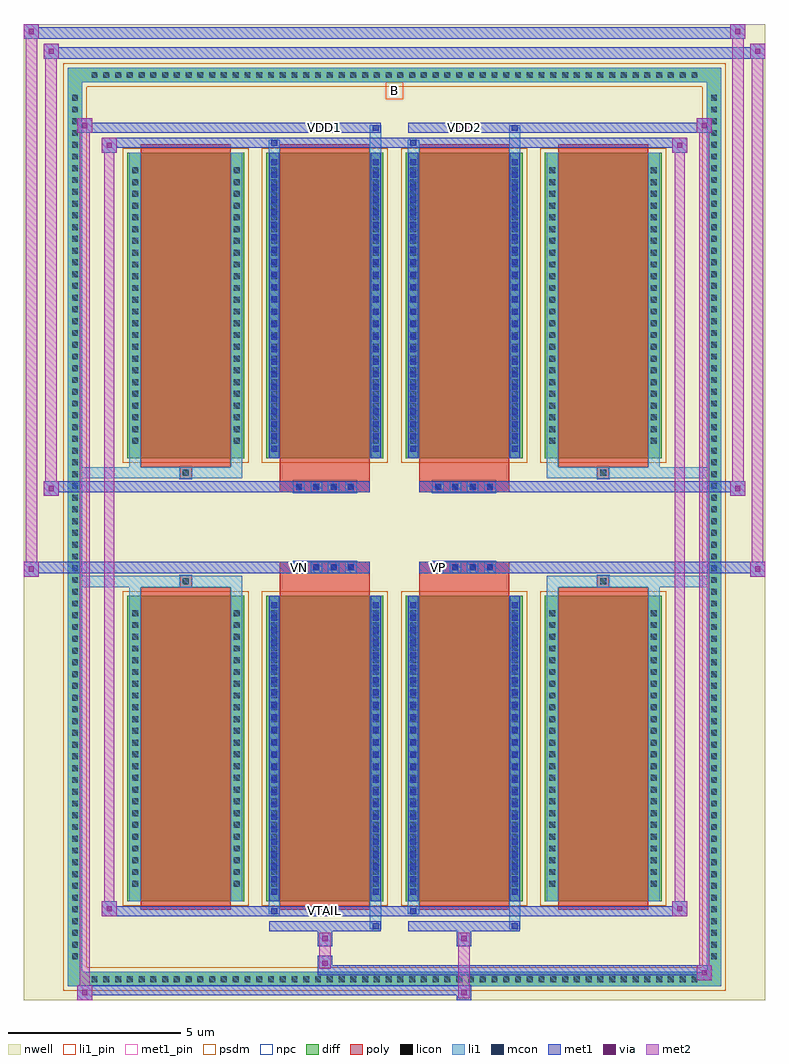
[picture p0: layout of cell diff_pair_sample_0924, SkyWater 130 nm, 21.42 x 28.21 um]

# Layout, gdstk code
import gdstk
lib = gdstk.Library(unit=1e-6, precision=5e-09)
def R(c, l, rs):  # rectangles x0, y0, x1, y1
    for r in rs: c.add(gdstk.rectangle(r[:2], r[2:], *l))
def A(c, l, x, y, w, h, nx, ny, dx, dy):  # array of equal rectangles
    R(c, l, [(x+i*dx, y+j*dy, x+i*dx+w, y+j*dy+h) for i in range(nx) for j in range(ny)])
def P(c, l, *ps):  # polygons
    for p in ps: c.add(gdstk.Polygon(p, *l))
nwell = (64, 20)
diff = (65, 20)
poly = (66, 20)
licon = (66, 44)
li1_pin = (67, 16)
li1 = (67, 20)
mcon = (67, 44)
met1_pin = (68, 16)
met1 = (68, 20)
via = (68, 44)
met2 = (69, 20)
psdm = (94, 20)
npc = (95, 20)

diff_pair_sample_0924 = lib.new_cell('diff_pair_sample_0924')
R(diff_pair_sample_0924, nwell, [(-10.71,-13.67,10.71,14.54), (-8.03,-11.86,-0.01,-0.8), (0.01,-11.86,8.03,-0.8), (-8.03,0.8,-0.01,11.86), (0.01,0.8,8.03,11.86)])
A(diff_pair_sample_0924, diff, -8.875, -13.27, 0.41, 0.41, 52, 2, 0.34, 26.13)
A(diff_pair_sample_0924, diff, -9.44, -12.615, 0.41, 0.41, 1, 74, 0, 0.34)
A(diff_pair_sample_0924, diff, 9.03, -12.615, 0.41, 0.41, 1, 74, 0, 0.34)
A(diff_pair_sample_0924, diff, -7.72, -10.815, 3.38, 8.83, 4, 2, 4.02, 12.8)
R(diff_pair_sample_0924, diff, [(-8.875,-13.27,8.875,-12.86), (-9.44,-12.615,-9.03,12.615), (9.03,-12.615,9.44,12.615), (-8.875,12.86,8.875,13.27)])
P(diff_pair_sample_0924, diff, [(9.44,13.27),(-9.44,13.27),(-9.44,-12.86),(-9.03,-12.86),(-9.03,12.86),(9.03,12.86),(9.03,-12.86),(-9.03,-12.86),(-9.44,-12.86),(-9.44,-13.27),(9.44,-13.27)])
A(diff_pair_sample_0924, poly, -7.33, -11.065, 2.6, 9.33, 4, 2, 4.02, 12.8)
A(diff_pair_sample_0924, poly, -2.925, -1.33, 0.33, 0.33, 4, 2, 0.5, 2.33)
A(diff_pair_sample_0924, poly, 1.095, -1.33, 0.33, 0.33, 4, 2, 0.5, 2.33)
R(diff_pair_sample_0924, poly, [(-6.195,-1.735,-5.865,-1.405), (-6.195,-1.735,-5.865,-1.405), (-3.31,-1.735,-0.71,-1.33), (0.71,-1.735,3.31,-1.33), (5.865,-1.735,6.195,-1.405), (5.865,-1.735,6.195,-1.405), (-3.31,-1.33,-0.71,-1), (0.71,-1.33,3.31,-1), (-3.31,1,-0.71,1.33), (0.71,1,3.31,1.33), (-3.31,1.33,-0.71,1.735), (0.71,1.33,3.31,1.735), (-6.195,1.405,-5.865,1.735), (-6.195,1.405,-5.865,1.735), (5.865,1.405,6.195,1.735), (5.865,1.405,6.195,1.735)])
A(diff_pair_sample_0924, licon, -8.755, -13.15, 0.17, 0.17, 52, 2, 0.34, 26.13)
A(diff_pair_sample_0924, licon, -9.32, -12.495, 0.17, 0.17, 1, 74, 0, 0.34)
A(diff_pair_sample_0924, licon, 9.15, -12.495, 0.17, 0.17, 1, 74, 0, 0.34)
A(diff_pair_sample_0924, licon, -7.58, -10.395, 0.17, 0.17, 1, 24, 0, 0.34)
A(diff_pair_sample_0924, licon, -4.65, -10.395, 0.17, 0.17, 1, 24, 0, 0.34)
A(diff_pair_sample_0924, licon, -3.56, -10.395, 0.17, 0.17, 1, 24, 0, 0.34)
A(diff_pair_sample_0924, licon, -0.63, -10.395, 0.17, 0.17, 1, 24, 0, 0.34)
A(diff_pair_sample_0924, licon, 0.46, -10.395, 0.17, 0.17, 1, 24, 0, 0.34)
A(diff_pair_sample_0924, licon, 3.39, -10.395, 0.17, 0.17, 1, 24, 0, 0.34)
A(diff_pair_sample_0924, licon, 4.48, -10.395, 0.17, 0.17, 1, 24, 0, 0.34)
A(diff_pair_sample_0924, licon, 7.41, -10.395, 0.17, 0.17, 1, 24, 0, 0.34)
A(diff_pair_sample_0924, licon, -2.845, -1.25, 0.17, 0.17, 4, 2, 0.5, 2.33)
A(diff_pair_sample_0924, licon, 1.175, -1.25, 0.17, 0.17, 4, 2, 0.5, 2.33)
A(diff_pair_sample_0924, licon, -7.58, 2.405, 0.17, 0.17, 1, 24, 0, 0.34)
A(diff_pair_sample_0924, licon, -4.65, 2.405, 0.17, 0.17, 1, 24, 0, 0.34)
A(diff_pair_sample_0924, licon, -3.56, 2.405, 0.17, 0.17, 1, 24, 0, 0.34)
A(diff_pair_sample_0924, licon, -0.63, 2.405, 0.17, 0.17, 1, 24, 0, 0.34)
A(diff_pair_sample_0924, licon, 0.46, 2.405, 0.17, 0.17, 1, 24, 0, 0.34)
A(diff_pair_sample_0924, licon, 3.39, 2.405, 0.17, 0.17, 1, 24, 0, 0.34)
A(diff_pair_sample_0924, licon, 4.48, 2.405, 0.17, 0.17, 1, 24, 0, 0.34)
A(diff_pair_sample_0924, licon, 7.41, 2.405, 0.17, 0.17, 1, 24, 0, 0.34)
R(diff_pair_sample_0924, licon, [(-6.115,-1.655,-5.945,-1.485), (5.945,-1.655,6.115,-1.485), (-6.115,1.485,-5.945,1.655), (5.945,1.485,6.115,1.655)])
R(diff_pair_sample_0924, li1_pin, [(-0.25,12.36,0.25,12.86)])
A(diff_pair_sample_0924, li1, -8.835, -13.23, 0.33, 0.33, 52, 2, 0.34, 26.13)
A(diff_pair_sample_0924, li1, -9.4, -12.575, 0.33, 0.33, 1, 74, 0, 0.34)
A(diff_pair_sample_0924, li1, 9.07, -12.575, 0.33, 0.33, 1, 74, 0, 0.34)
A(diff_pair_sample_0924, li1, -3.56, -10.625, 0.17, 0.17, 1, 24, 0, 0.36)
A(diff_pair_sample_0924, li1, -0.63, -10.625, 0.17, 0.17, 1, 24, 0, 0.36)
A(diff_pair_sample_0924, li1, 0.46, -10.625, 0.17, 0.17, 1, 24, 0, 0.36)
A(diff_pair_sample_0924, li1, 3.39, -10.625, 0.17, 0.17, 1, 24, 0, 0.36)
A(diff_pair_sample_0924, li1, -7.66, -10.475, 0.33, 0.33, 1, 24, 0, 0.34)
A(diff_pair_sample_0924, li1, -4.73, -10.475, 0.33, 0.33, 1, 24, 0, 0.34)
A(diff_pair_sample_0924, li1, -3.64, -10.475, 0.33, 0.33, 1, 24, 0, 0.34)
A(diff_pair_sample_0924, li1, -0.71, -10.475, 0.33, 0.33, 1, 24, 0, 0.34)
A(diff_pair_sample_0924, li1, 0.38, -10.475, 0.33, 0.33, 1, 24, 0, 0.34)
A(diff_pair_sample_0924, li1, 3.31, -10.475, 0.33, 0.33, 1, 24, 0, 0.34)
A(diff_pair_sample_0924, li1, 4.4, -10.475, 0.33, 0.33, 1, 24, 0, 0.34)
A(diff_pair_sample_0924, li1, 7.33, -10.475, 0.33, 0.33, 1, 24, 0, 0.34)
A(diff_pair_sample_0924, li1, -2.925, -1.33, 0.33, 0.33, 4, 2, 0.5, 2.33)
A(diff_pair_sample_0924, li1, 1.095, -1.33, 0.33, 0.33, 4, 2, 0.5, 2.33)
A(diff_pair_sample_0924, li1, -3.56, 2.175, 0.17, 0.17, 1, 24, 0, 0.36)
A(diff_pair_sample_0924, li1, -0.63, 2.175, 0.17, 0.17, 1, 24, 0, 0.36)
A(diff_pair_sample_0924, li1, 0.46, 2.175, 0.17, 0.17, 1, 24, 0, 0.36)
A(diff_pair_sample_0924, li1, 3.39, 2.175, 0.17, 0.17, 1, 24, 0, 0.36)
A(diff_pair_sample_0924, li1, -7.66, 2.325, 0.33, 0.33, 1, 24, 0, 0.34)
A(diff_pair_sample_0924, li1, -4.73, 2.325, 0.33, 0.33, 1, 24, 0, 0.34)
A(diff_pair_sample_0924, li1, -3.64, 2.325, 0.33, 0.33, 1, 24, 0, 0.34)
A(diff_pair_sample_0924, li1, -0.71, 2.325, 0.33, 0.33, 1, 24, 0, 0.34)
A(diff_pair_sample_0924, li1, 0.38, 2.325, 0.33, 0.33, 1, 24, 0, 0.34)
A(diff_pair_sample_0924, li1, 3.31, 2.325, 0.33, 0.33, 1, 24, 0, 0.34)
A(diff_pair_sample_0924, li1, 4.4, 2.325, 0.33, 0.33, 1, 24, 0, 0.34)
A(diff_pair_sample_0924, li1, 7.33, 2.325, 0.33, 0.33, 1, 24, 0, 0.34)
R(diff_pair_sample_0924, li1, [(-9.44,-13.27,-9.03,-12.86), (-9.44,-13.27,-9.03,-12.86), (-9.03,-13.27,9.03,-12.86), (9.03,-13.27,9.44,-12.86), (9.03,-13.27,9.44,-12.86), (-9.44,-12.86,-9.03,12.86), (9.03,-12.86,9.44,12.86), (-0.71,-11.62,-0.38,-10.815), (-0.63,-11.62,-0.46,-11.45), (3.31,-11.62,3.64,-10.815), (3.39,-11.62,3.56,-11.45), (-3.64,-11.19,-3.31,-10.815), (-3.56,-11.19,-3.39,-11.02), (0.38,-11.19,0.71,-10.815), (0.46,-11.19,0.63,-11.02), (-7.66,-10.815,-7.33,-1.985), (-4.73,-10.815,-4.4,-1.985), (-3.64,-10.815,-3.31,-1.985), (-0.71,-10.815,-0.38,-1.985), (0.38,-10.815,0.71,-1.985), (3.31,-10.815,3.64,-1.985), (4.4,-10.815,4.73,-1.985), (7.33,-10.815,7.66,-1.985), (-3.56,-10.625,-3.39,-2.175), (-0.63,-10.625,-0.46,-2.175), (0.46,-10.625,0.63,-2.175), (3.39,-10.625,3.56,-2.175), (-7.66,-1.985,-7.33,-1.405), (-4.73,-1.985,-4.4,-1.405), (4.4,-1.985,4.73,-1.405), (7.33,-1.985,7.66,-1.405), (-9.44,-1.735,-6.195,-1.405), (-7.66,-1.735,-6.195,-1.405), (-6.195,-1.735,-5.865,-1.405), (-5.865,-1.735,-4.4,-1.405), (4.4,-1.735,5.865,-1.405), (5.865,-1.735,6.195,-1.405), (5.865,-1.735,9.44,-1.405), (6.195,-1.735,7.66,-1.405), (-9.44,1.405,-6.195,1.735), (-7.66,1.405,-6.195,1.735), (-7.66,1.405,-7.33,1.985), (-6.195,1.405,-5.865,1.735), (-5.865,1.405,-4.4,1.735), (-4.73,1.405,-4.4,1.985), (4.4,1.405,5.865,1.735), (4.4,1.405,4.73,1.985), (5.865,1.405,6.195,1.735), (5.865,1.405,9.44,1.735), (6.195,1.405,7.66,1.735), (7.33,1.405,7.66,1.985), (-7.66,1.985,-7.33,10.815), (-4.73,1.985,-4.4,10.815), (-3.64,1.985,-3.31,10.815), (-0.71,1.985,-0.38,10.815), (0.38,1.985,0.71,10.815), (3.31,1.985,3.64,10.815), (4.4,1.985,4.73,10.815), (7.33,1.985,7.66,10.815), (-3.56,2.175,-3.39,10.625), (-0.63,2.175,-0.46,10.625), (0.46,2.175,0.63,10.625), (3.39,2.175,3.56,10.625), (-3.64,10.815,-3.31,11.19), (-0.71,10.815,-0.38,11.62), (0.38,10.815,0.71,11.19), (3.31,10.815,3.64,11.62), (-3.56,11.02,-3.39,11.19), (0.46,11.02,0.63,11.19), (-0.63,11.45,-0.46,11.62), (3.39,11.45,3.56,11.62), (-9.44,12.86,-9.03,13.27), (-9.44,12.86,-9.03,13.27), (-9.03,12.86,9.03,13.27), (9.03,12.86,9.44,13.27), (9.03,12.86,9.44,13.27)])
A(diff_pair_sample_0924, mcon, -3.56, -10.625, 0.17, 0.17, 1, 24, 0, 0.36)
A(diff_pair_sample_0924, mcon, -0.63, -10.625, 0.17, 0.17, 1, 24, 0, 0.36)
A(diff_pair_sample_0924, mcon, 0.46, -10.625, 0.17, 0.17, 1, 24, 0, 0.36)
A(diff_pair_sample_0924, mcon, 3.39, -10.625, 0.17, 0.17, 1, 24, 0, 0.36)
A(diff_pair_sample_0924, mcon, -2.845, -1.25, 0.17, 0.17, 4, 2, 0.5, 2.33)
A(diff_pair_sample_0924, mcon, 1.175, -1.25, 0.17, 0.17, 4, 2, 0.5, 2.33)
A(diff_pair_sample_0924, mcon, -3.56, 2.175, 0.17, 0.17, 1, 24, 0, 0.36)
A(diff_pair_sample_0924, mcon, -0.63, 2.175, 0.17, 0.17, 1, 24, 0, 0.36)
A(diff_pair_sample_0924, mcon, 0.46, 2.175, 0.17, 0.17, 1, 24, 0, 0.36)
A(diff_pair_sample_0924, mcon, 3.39, 2.175, 0.17, 0.17, 1, 24, 0, 0.36)
R(diff_pair_sample_0924, mcon, [(-0.63,-11.62,-0.46,-11.45), (3.39,-11.62,3.56,-11.45), (-3.56,-11.19,-3.39,-11.02), (0.46,-11.19,0.63,-11.02), (-3.56,11.02,-3.39,11.19), (0.46,11.02,0.63,11.19), (-0.63,11.45,-0.46,11.62), (3.39,11.45,3.56,11.62)])
R(diff_pair_sample_0924, met1_pin, [(-2.145,-11.23,-1.875,-10.96), (-2.895,-1.29,-2.625,-1.02), (1.125,-1.29,1.395,-1.02), (-2.145,11.41,-1.875,11.68), (1.875,11.41,2.145,11.68)])
A(diff_pair_sample_0924, met1, -3.62, -10.685, 0.29, 0.29, 1, 24, 0, 0.36)
A(diff_pair_sample_0924, met1, -0.69, -10.685, 0.29, 0.29, 1, 24, 0, 0.36)
A(diff_pair_sample_0924, met1, 0.4, -10.685, 0.29, 0.29, 1, 24, 0, 0.36)
A(diff_pair_sample_0924, met1, 3.33, -10.685, 0.29, 0.29, 1, 24, 0, 0.36)
A(diff_pair_sample_0924, met1, -2.905, -1.31, 0.29, 0.29, 4, 2, 0.5, 2.33)
A(diff_pair_sample_0924, met1, 1.115, -1.31, 0.29, 0.29, 4, 2, 0.5, 2.33)
A(diff_pair_sample_0924, met1, -3.62, 2.115, 0.29, 0.29, 1, 24, 0, 0.36)
A(diff_pair_sample_0924, met1, -0.69, 2.115, 0.29, 0.29, 1, 24, 0, 0.36)
A(diff_pair_sample_0924, met1, 0.4, 2.115, 0.29, 0.29, 1, 24, 0, 0.36)
A(diff_pair_sample_0924, met1, 3.33, 2.115, 0.29, 0.29, 1, 24, 0, 0.36)
R(diff_pair_sample_0924, met1, [(-9.17,-13.67,-8.74,-13.24), (1.795,-13.67,2.225,-13.24), (-9.17,-13.53,2.225,-13.24), (8.74,-13.1,9.17,-12.67), (-2.225,-12.96,9.17,-12.67), (-2.225,-12.82,-1.795,-12.39), (-2.225,-12.11,-1.795,-11.68), (1.795,-12.11,2.225,-11.68), (-3.62,-11.68,-0.4,-11.39), (-0.69,-11.68,-0.4,-11.39), (0.4,-11.68,3.62,-11.39), (3.33,-11.68,3.62,-11.39), (-8.46,-11.25,-8.03,-10.82), (-8.46,-11.25,-3.62,-10.96), (-3.62,-11.25,-3.33,-10.96), (-3.62,-11.25,-0.4,-10.96), (-0.4,-11.25,0.4,-10.96), (0.4,-11.25,0.69,-10.96), (0.4,-11.25,3.62,-10.96), (3.62,-11.25,8.46,-10.96), (8.03,-11.25,8.46,-10.82), (-3.62,-10.815,-3.33,-1.985), (-0.69,-10.815,-0.4,-1.985), (0.4,-10.815,0.69,-1.985), (3.33,-10.815,3.62,-1.985), (-10.71,-1.43,-10.28,-1), (10.28,-1.43,10.71,-1), (-10.71,-1.33,-0.71,-1), (-3.31,-1.33,-0.71,-1), (0.71,-1.33,3.31,-1), (0.71,-1.33,10.71,-1), (-10.14,0.9,-9.71,1.33), (9.71,0.9,10.14,1.33), (-10.14,1,-3.31,1.33), (-3.31,1,-0.71,1.33), (0.71,1,3.31,1.33), (3.31,1,10.14,1.33), (-3.62,1.985,-3.33,10.815), (-0.69,1.985,-0.4,10.815), (0.4,1.985,0.69,10.815), (3.33,1.985,3.62,10.815), (-8.46,10.82,-8.03,11.25), (8.03,10.82,8.46,11.25), (-8.46,10.96,-3.62,11.25), (-3.62,10.96,-3.33,11.25), (-3.62,10.96,-0.4,11.25), (-0.4,10.96,0.4,11.25), (0.4,10.96,0.69,11.25), (0.4,10.96,3.62,11.25), (3.62,10.96,8.46,11.25), (-9.17,11.39,-8.74,11.82), (-9.17,11.39,-3.62,11.68), (-3.62,11.39,-0.4,11.68), (-0.69,11.39,-0.4,11.68), (0.4,11.39,3.62,11.68), (3.33,11.39,3.62,11.68), (3.62,11.39,9.17,11.68), (8.74,11.39,9.17,11.82), (-10.14,13.54,-9.71,13.97), (-10.14,13.54,-8.03,13.87), (-8.03,13.54,8.03,13.87), (8.03,13.54,10.71,13.87), (10.28,13.54,10.71,13.97), (-10.71,14.11,-10.28,14.54), (-10.71,14.11,-8.03,14.44), (-8.03,14.11,8.03,14.44), (8.03,14.11,10.14,14.44), (9.71,14.11,10.14,14.54)])
R(diff_pair_sample_0924, via, [(-9.03,-13.53,-8.88,-13.38), (1.935,-13.53,2.085,-13.38), (8.88,-12.96,9.03,-12.81), (-2.085,-12.68,-1.935,-12.53), (-2.085,-11.97,-1.935,-11.82), (1.935,-11.97,2.085,-11.82), (-8.32,-11.11,-8.17,-10.96), (8.17,-11.11,8.32,-10.96), (-10.57,-1.29,-10.42,-1.14), (10.42,-1.29,10.57,-1.14), (-10,1.04,-9.85,1.19), (9.85,1.04,10,1.19), (-8.32,10.96,-8.17,11.11), (8.17,10.96,8.32,11.11), (-9.03,11.53,-8.88,11.68), (8.88,11.53,9.03,11.68), (-10,13.68,-9.85,13.83), (10.42,13.68,10.57,13.83), (-10.57,14.25,-10.42,14.4), (9.85,14.25,10,14.4)])
R(diff_pair_sample_0924, met2, [(-9.17,-13.67,-8.74,-13.24), (-9.1,-13.67,-8.81,11.82), (-8.81,-13.67,-8.74,-13.24), (-9.12,-13.62,-8.79,-13.29), (1.845,-13.62,2.175,-13.29), (1.845,-13.29,2.175,-12.06), (8.74,-13.1,9.17,-12.67), (8.81,-13.1,9.1,11.82), (9.1,-13.1,9.17,-12.67), (8.79,-13.05,9.12,-12.72), (-2.175,-12.77,-1.845,-12.44), (-2.175,-12.44,-1.845,-12.06), (-2.175,-12.06,-1.845,-11.73), (1.845,-12.06,2.175,-11.73), (-8.46,-11.25,-8.03,-10.82), (-8.39,-11.25,-8.1,11.25), (-8.1,-11.25,-8.03,-10.82), (8.03,-11.25,8.46,-10.82), (8.1,-11.25,8.39,11.25), (8.39,-11.25,8.46,-10.82), (-8.41,-11.2,-8.08,-10.87), (8.08,-11.2,8.41,-10.87), (-10.71,-1.43,-10.28,-1), (-10.66,-1.43,-10.33,14.54), (-10.33,-1.43,-10.28,-1), (10.28,-1.43,10.71,-1), (10.33,-1.43,10.66,13.97), (10.66,-1.43,10.71,-1), (-10.66,-1.38,-10.33,-1.05), (10.33,-1.38,10.66,-1.05), (-10.14,0.9,-9.71,1.33), (-10.09,0.9,-9.76,13.97), (-9.76,0.9,-9.71,1.33), (9.71,0.9,10.14,1.33), (9.76,0.9,10.09,14.54), (10.09,0.9,10.14,1.33), (-10.09,0.95,-9.76,1.28), (9.76,0.95,10.09,1.28), (-8.46,10.82,-8.03,11.25), (-8.1,10.82,-8.03,11.25), (8.03,10.82,8.46,11.25), (8.39,10.82,8.46,11.25), (-8.41,10.87,-8.08,11.2), (8.08,10.87,8.41,11.2), (-9.17,11.39,-8.74,11.82), (-8.81,11.39,-8.74,11.82), (8.74,11.39,9.17,11.82), (9.1,11.39,9.17,11.82), (-9.12,11.44,-8.79,11.77), (8.79,11.44,9.12,11.77), (-10.14,13.54,-9.71,13.97), (-9.76,13.54,-9.71,13.97), (10.28,13.54,10.71,13.97), (10.66,13.54,10.71,13.97), (-10.09,13.59,-9.76,13.92), (10.33,13.59,10.66,13.92), (-10.71,14.11,-10.28,14.54), (-10.33,14.11,-10.28,14.54), (9.71,14.11,10.14,14.54), (10.09,14.11,10.14,14.54), (-10.66,14.16,-10.33,14.49), (9.76,14.16,10.09,14.49)])
A(diff_pair_sample_0924, psdm, -7.85, -10.945, 3.64, 9.09, 4, 2, 4.02, 12.8)
P(diff_pair_sample_0924, psdm, [(9.57,13.4),(-9.57,13.4),(-9.57,-12.73),(-8.9,-12.73),(-8.9,12.73),(8.9,12.73),(8.9,-12.73),(-8.9,-12.73),(-9.57,-12.73),(-9.57,-13.4),(9.57,-13.4)])
A(diff_pair_sample_0924, npc, -2.945, -1.35, 0.37, 0.37, 4, 2, 0.5, 2.33)
A(diff_pair_sample_0924, npc, 1.075, -1.35, 0.37, 0.37, 4, 2, 0.5, 2.33)
R(diff_pair_sample_0924, npc, [(-6.215,-1.755,-5.845,-1.385), (5.845,-1.755,6.215,-1.385), (-2.945,-1.35,-2.075,-0.98), (-2.945,-1.35,-2.075,-0.98), (-2.445,-1.35,-1.575,-0.98), (-2.445,-1.35,-1.575,-0.98), (-1.945,-1.35,-1.075,-0.98), (-1.945,-1.35,-1.075,-0.98), (1.075,-1.35,1.945,-0.98), (1.075,-1.35,1.945,-0.98), (1.575,-1.35,2.445,-0.98), (1.575,-1.35,2.445,-0.98), (2.075,-1.35,2.945,-0.98), (2.075,-1.35,2.945,-0.98), (-2.945,0.98,-2.075,1.35), (-2.945,0.98,-2.075,1.35), (-2.445,0.98,-1.575,1.35), (-2.445,0.98,-1.575,1.35), (-1.945,0.98,-1.075,1.35), (-1.945,0.98,-1.075,1.35), (1.075,0.98,1.945,1.35), (1.075,0.98,1.945,1.35), (1.575,0.98,2.445,1.35), (1.575,0.98,2.445,1.35), (2.075,0.98,2.945,1.35), (2.075,0.98,2.945,1.35), (-6.215,1.385,-5.845,1.755), (5.845,1.385,6.215,1.755)])
diff_pair_sample_0924.add(gdstk.Label('VTAIL', (-2.01,-11.095), layer=68, texttype=5))
diff_pair_sample_0924.add(gdstk.Label('VN', (-2.76,-1.155), layer=68, texttype=5))
diff_pair_sample_0924.add(gdstk.Label('VP', (1.26,-1.155), layer=68, texttype=5))
diff_pair_sample_0924.add(gdstk.Label('B', (0,12.61), layer=67, texttype=5))
diff_pair_sample_0924.add(gdstk.Label('VDD2', (2.01,11.545), layer=68, texttype=5))
diff_pair_sample_0924.add(gdstk.Label('VDD1', (-2.01,11.545), layer=68, texttype=5))

lib.write_gds('diff_pair_sample_0924.gds')
